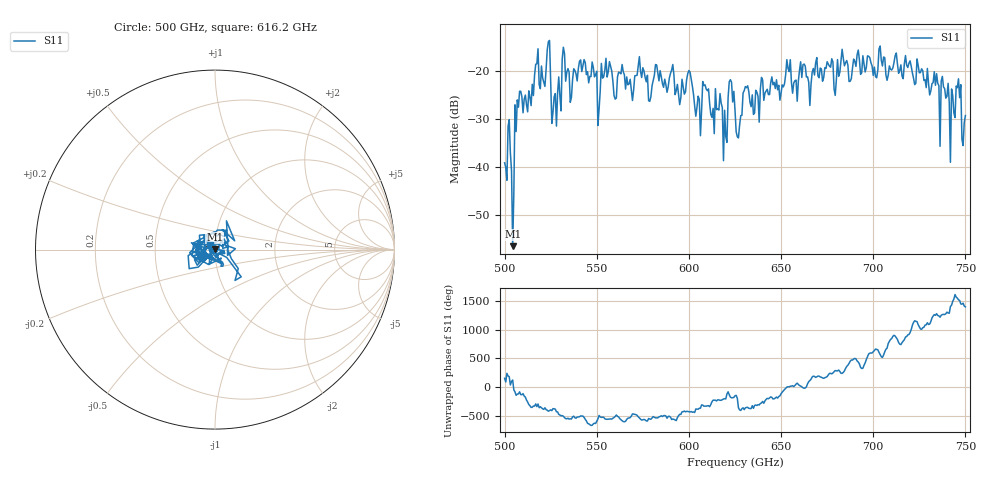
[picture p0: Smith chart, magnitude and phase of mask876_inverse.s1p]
!Created with skrf (http://scikit-rf.org).
# GHz S MA R 50.0
!freq magS11 angS11
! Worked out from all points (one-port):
!   401 points, 500 GHz to 750 GHz, reference 50 ohm
!   lowest |S11| = -56.6 dB at 504.4 GHz (marker M1), VSWR 1.00, Z = 49.9 + j0.122 ohm
!   |S11| at or under -10 dB: start of sweep to end of sweep
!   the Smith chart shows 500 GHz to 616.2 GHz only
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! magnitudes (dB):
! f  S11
! 500 GHz  -39.2
! 502.5 GHz  -30.1
! 504.4 GHz  -56.6
! 508.1 GHz  -24.2
! 523.8 GHz  -13.8
! 526.9 GHz  -25.4
! 531.2 GHz  -17.4
! 548.8 GHz  -21.2
! 550.6 GHz  -31.3
! 553.8 GHz  -21.1
! 562.5 GHz  -20.3
! 579.4 GHz  -25.3
! 590.6 GHz  -19.7
! 593.8 GHz  -22.7
! 600 GHz  -19.8
! 605 GHz  -25.2
! 608.8 GHz  -22.8
! 619.4 GHz  -28.1
! 623.1 GHz  -22.3
! 625 GHz  -28.1
! 626.9 GHz  -33.9
! 630.6 GHz  -23.2
! 656.2 GHz  -24.6
! 687.5 GHz  -22.1
! 718.8 GHz  -19.2
! 743.1 GHz  -25.0
! 746.2 GHz  -21.6
! 750 GHz  -29.3
